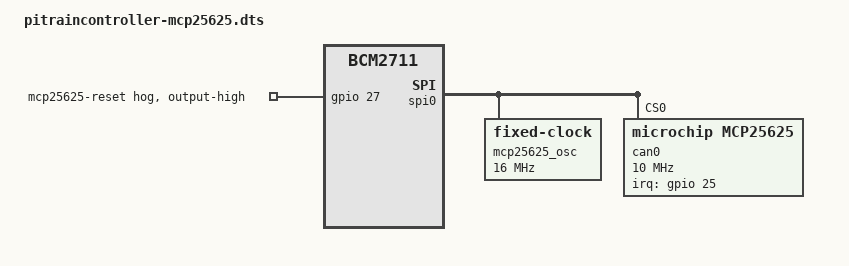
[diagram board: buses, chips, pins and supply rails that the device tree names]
/*
 * pitraincontroller-mcp25625.dts
 *
 * Device tree overlay for the PiTrainController HAT's on-board MCP25625
 * CAN controller, bound to the mainline `mcp251x` SocketCAN driver.
 *
 * Pin map (cross-checked against both the original project brief and the
 * PCB Design v4.0 board manual/schematic -- identical in both, BCM GPIO
 * numbering):
 *   SPI0 MOSI  -> GPIO10 (header pin 19)  standard SPI0, no overlay change needed
 *   SPI0 MISO  -> GPIO9  (header pin 21)  standard SPI0, no overlay change needed
 *   SPI0 SCLK  -> GPIO11 (header pin 23)  standard SPI0, no overlay change needed
 *   SPI0 CE0   -> GPIO8  (header pin 24)  chip select, standard SPI0
 *   MCP25625 IRQ   -> GPIO25 (header pin 22), active-low interrupt
 *   MCP25625 RESET -> GPIO27 (header pin 13), active-low hardware reset
 *
 * Two things the mainline mcp251x driver does NOT do, that this overlay
 * has to handle instead:
 *
 *   1. Reset: mcp251x.c only ever issues a soft reset over SPI
 *      (INSTRUCTION_RESET); it has no reset-gpios support. If this board's
 *      RESET line is left floating/low at boot, the chip stays held in
 *      reset and the driver's SPI probe will fail. We use a `gpio-hog` on
 *      GPIO27 to drive it high (inactive) as early as gpiolib comes up,
 *      independent of driver probe order.
 *
 *   2. Clock: the driver needs a `clocks` reference resolving to a fixed
 *      oscillator frequency. Confirmed as 16 MHz against the board
 *      schematic (Y1 = LFXTAL058383Bulk, "16MHz 20pF -40C 85C"),
 *      overridable at dtoverlay-load time if a different board revision
 *      ever uses a different crystal.
 *
 * SPI bus speed is set conservatively to 10 MHz (half the 16 MHz
 * oscillator is the MCP2515-family's documented safe operating point);
 * also overridable.
 */

/dts-v1/;
/plugin/;

/ {
	compatible = "brcm,bcm2835", "brcm,bcm2836", "brcm,bcm2837", "brcm,bcm2711";

	/* Enable SPI0 and free up CE0 from the generic spidev binding */
	fragment@0 {
		target = <&spi0>;
		__overlay__ {
			status = "okay";
		};
	};

	fragment@1 {
		target = <&spidev0>;
		__overlay__ {
			status = "disabled";
		};
	};

	/* IRQ pin function select + RESET gpio-hog */
	fragment@2 {
		target = <&gpio>;
		__overlay__ {
			mcp25625_irq_pin: mcp25625_irq_pin {
				brcm,pins = <25>;
				brcm,function = <0>; /* input */
				brcm,pull = <0>;     /* no pull; board already conditions this line */
			};

			mcp25625_reset_hog: mcp25625_reset_hog {
				gpio-hog;
				gpios = <27 0>;
				output-high;         /* active-low reset: high = inactive/released */
				line-name = "mcp25625-reset";
			};
		};
	};

	/* Fixed-clock oscillator node + the mcp25625 SPI device itself */
	fragment@3 {
		target = <&spi0>;
		__overlay__ {
			#address-cells = <1>;
			#size-cells = <0>;

			mcp25625_osc: mcp25625_osc {
				compatible = "fixed-clock";
				#clock-cells = <0>;
				clock-frequency = <16000000>;
			};

			can0: mcp25625@0 {
				reg = <0>;
				compatible = "microchip,mcp25625";
				pinctrl-names = "default";
				pinctrl-0 = <&mcp25625_irq_pin>;
				spi-max-frequency = <10000000>;
				interrupt-parent = <&gpio>;
				/* IRQ_TYPE_LEVEL_LOW = 8 (hardcoded: avoids needing the
				 * kernel's dt-bindings/interrupt-controller/irq.h include
				 * path when compiling this overlay standalone with dtc) */
				interrupts = <25 8>;
				clocks = <&mcp25625_osc>;
				status = "okay";
			};
		};
	};

	__overrides__ {
		oscillator      = <&mcp25625_osc>,"clock-frequency:0";
		spimaxfrequency = <&can0>,"spi-max-frequency:0";
	};
};
